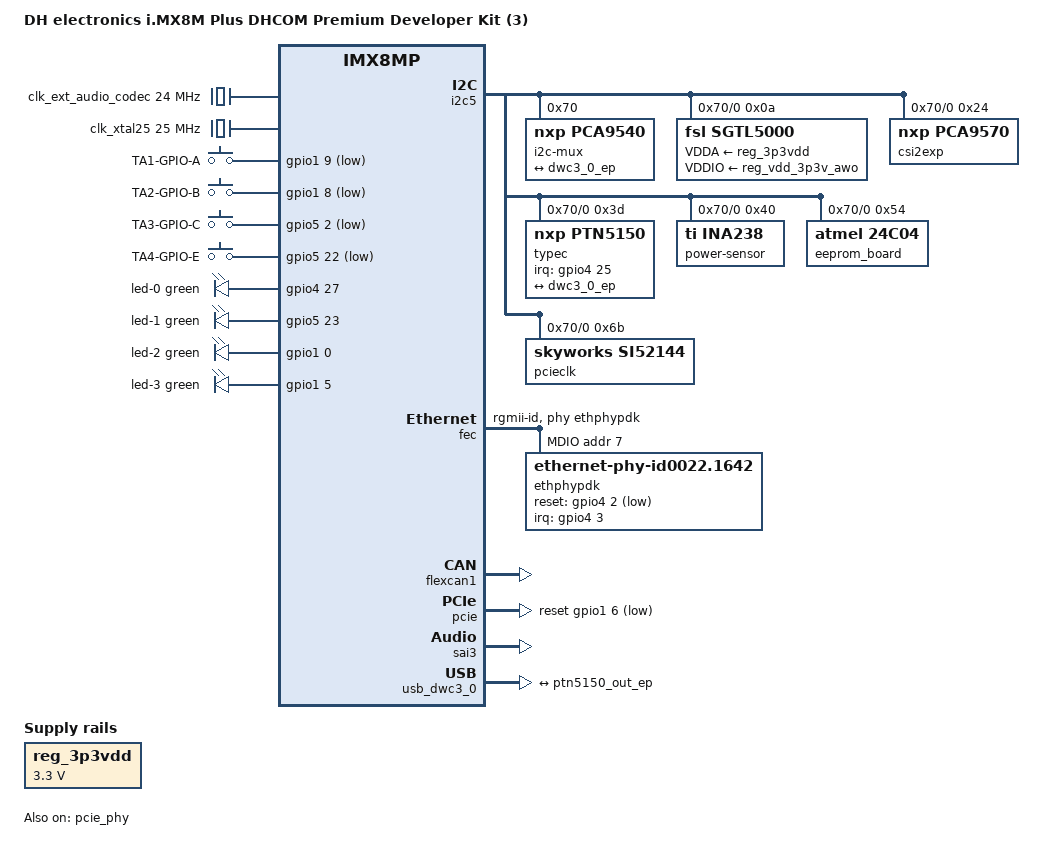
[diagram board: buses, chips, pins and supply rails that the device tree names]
// SPDX-License-Identifier: (GPL-2.0+ OR MIT)
/*
 * Copyright (C) 2023 Marek Vasut <marex@denx.de>
 *
 * DHCOM iMX8MP variant:
 * DHCM-iMX8ML8-C160-R409-F1638-SPI16-GE-CAN2-SD-RTC-WBTA-ADC-T-RGB-CSI2-HS-I-01D2
 * DHCOM PCB number: 660-100 or newer
 * PDK3 PCB number: 669-100 or newer
 */

/dts-v1/;

#include <dt-bindings/leds/common.h>
#include <dt-bindings/phy/phy-imx8-pcie.h>
#include "imx8mp-dhcom-som.dtsi"

/ {
	model = "DH electronics i.MX8M Plus DHCOM Premium Developer Kit (3)";
	compatible = "dh,imx8mp-dhcom-pdk3", "dh,imx8mp-dhcom-som",
		     "fsl,imx8mp";

	chosen {
		stdout-path = &uart1;
	};

	clk_ext_audio_codec: clock-codec {
		compatible = "fixed-clock";
		#clock-cells = <0>;
		clock-frequency = <24000000>;
	};

	clk_xtal25: clock-xtal25 {
		compatible = "fixed-clock";
		#clock-cells = <0>;
		clock-frequency = <25000000>;
	};

	gpio-keys {
		compatible = "gpio-keys";

		button-0 {
			gpios = <&gpio1 9 GPIO_ACTIVE_LOW>; /* GPIO A */
			label = "TA1-GPIO-A";
			linux,code = <KEY_A>;
			pinctrl-0 = <&pinctrl_dhcom_a>;
			pinctrl-names = "default";
			wakeup-source;
		};

		button-1 {
			gpios = <&gpio1 8 GPIO_ACTIVE_LOW>; /* GPIO B */
			label = "TA2-GPIO-B";
			linux,code = <KEY_B>;
			pinctrl-0 = <&pinctrl_dhcom_b>;
			pinctrl-names = "default";
			wakeup-source;
		};

		button-2 {
			gpios = <&gpio5 2 GPIO_ACTIVE_LOW>; /* GPIO C */
			label = "TA3-GPIO-C";
			linux,code = <KEY_C>;
			pinctrl-0 = <&pinctrl_dhcom_c>;
			pinctrl-names = "default";
			wakeup-source;
		};

		button-3 {
			gpios = <&gpio5 22 GPIO_ACTIVE_LOW>; /* GPIO E */
			label = "TA4-GPIO-E";
			linux,code = <KEY_E>;
			pinctrl-0 = <&pinctrl_dhcom_e>;
			pinctrl-names = "default";
			wakeup-source;
		};
	};

	led {
		compatible = "gpio-leds";

		led-0 {
			color = <LED_COLOR_ID_GREEN>;
			default-state = "off";
			function = LED_FUNCTION_INDICATOR;
			function-enumerator = <0>;
			gpios = <&gpio4 27 GPIO_ACTIVE_HIGH>; /* GPIO D */
			pinctrl-0 = <&pinctrl_dhcom_d>;
			pinctrl-names = "default";
		};

		led-1 {
			color = <LED_COLOR_ID_GREEN>;
			default-state = "off";
			function = LED_FUNCTION_INDICATOR;
			function-enumerator = <1>;
			gpios = <&gpio5 23 GPIO_ACTIVE_HIGH>; /* GPIO F */
			pinctrl-0 = <&pinctrl_dhcom_f>;
			pinctrl-names = "default";
		};

		led-2 {
			color = <LED_COLOR_ID_GREEN>;
			default-state = "off";
			function = LED_FUNCTION_INDICATOR;
			function-enumerator = <2>;
			gpios = <&gpio1 0 GPIO_ACTIVE_HIGH>; /* GPIO G */
			pinctrl-0 = <&pinctrl_dhcom_g>;
			pinctrl-names = "default";
		};

		led-3 {
			color = <LED_COLOR_ID_GREEN>;
			default-state = "off";
			function = LED_FUNCTION_INDICATOR;
			function-enumerator = <3>;
			gpios = <&gpio1 5 GPIO_ACTIVE_HIGH>; /* GPIO I */
			pinctrl-0 = <&pinctrl_dhcom_i>;
			pinctrl-names = "default";
		};
	};

	reg_3p3vdd: regulator-3p3vdd {	/* 3.3VDD */
		compatible = "regulator-fixed";
		regulator-always-on;
		regulator-min-microvolt = <3300000>;
		regulator-max-microvolt = <3300000>;
		regulator-name = "3P3VDD";
	};

	sound {
		compatible = "simple-audio-card";
		simple-audio-card,name = "SGTL5000-Card";
		simple-audio-card,format = "i2s";
		simple-audio-card,bitclock-master = <&codec_dai>;
		simple-audio-card,frame-master = <&codec_dai>;
		simple-audio-card,widgets = "Headphone", "Headphone Jack";
		simple-audio-card,routing = "Headphone Jack", "HP_OUT";

		cpu_dai: simple-audio-card,cpu {
			sound-dai = <&sai3>;
		};

		codec_dai: simple-audio-card,codec {
			sound-dai = <&sgtl5000>;
		};
	};
};

&i2c5 {
	i2c-mux@70 {
		compatible = "nxp,pca9540";
		reg = <0x70>;
		#address-cells = <1>;
		#size-cells = <0>;

		i2cmuxed0: i2c@0 {
			#address-cells = <1>;
			#size-cells = <0>;
			reg = <0>;

			sgtl5000: codec@a {
				compatible = "fsl,sgtl5000";
				reg = <0x0a>;
				#sound-dai-cells = <0>;
				clocks = <&clk_ext_audio_codec>;
				VDDA-supply = <&reg_3p3vdd>;
				VDDIO-supply = <&reg_vdd_3p3v_awo>;
			};

			csi2exp: gpio@24 {
				compatible = "nxp,pca9570";
				reg = <0x24>;
				gpio-controller;
				#gpio-cells = <2>;
				gpio-line-names =
					"CSI2_#RESET", "CSI2_#PWDN",
					"CSI_#PWDN", "CSI_#RESET";
			};

			typec@3d {
				compatible = "nxp,ptn5150";
				reg = <0x3d>;
				interrupt-parent = <&gpio4>;
				interrupts = <25 IRQ_TYPE_EDGE_FALLING>;
				pinctrl-names = "default";
				pinctrl-0 = <&pinctrl_ptn5150>;

				port {

					ptn5150_out_ep: endpoint {
						remote-endpoint = <&dwc3_0_ep>;
					};
				};
			};

			power-sensor@40 {
				compatible = "ti,ina238";
				reg = <0x40>;
				shunt-resistor = <20000>;	/* 0.02 R */
				ti,shunt-gain = <1>;	/* Drop cca. 40mV */
			};

			eeprom_board: eeprom@54 {
				compatible = "atmel,24c04";
				pagesize = <16>;
				reg = <0x54>;
			};

			pcieclk: clock@6b {
				compatible = "skyworks,si52144";
				reg = <0x6b>;
				clocks = <&clk_xtal25>;
				#clock-cells = <1>;
			};
		};

		i2cmuxed1: i2c@1 {	/* HDMI DDC I2C */
			#address-cells = <1>;
			#size-cells = <0>;
			reg = <1>;
		};
	};
};

&fec {	/* Second ethernet */
	pinctrl-0 = <&pinctrl_fec_rgmii>;
	phy-handle = <&ethphypdk>;
	phy-mode = "rgmii-id";

	mdio {
		ethphypdk: ethernet-phy@7 { /* Micrel KSZ9131RNXI */
			compatible = "ethernet-phy-id0022.1642",
				     "ethernet-phy-ieee802.3-c22";
			interrupt-parent = <&gpio4>;
			interrupts = <3 IRQ_TYPE_LEVEL_LOW>;
			pinctrl-0 = <&pinctrl_ethphy1>;
			pinctrl-names = "default";
			reg = <7>;
			reset-assert-us = <1000>;
			/* RESET_N signal rise time ~100ms */
			reset-deassert-us = <120000>;
			reset-gpios = <&gpio4 2 GPIO_ACTIVE_LOW>;
		};
	};
};

&flexcan1 {
	status = "okay";
};

&pcie_phy {
	clocks = <&pcieclk 1>;
	clock-names = "ref";
	fsl,refclk-pad-mode = <IMX8_PCIE_REFCLK_PAD_INPUT>;
	status = "okay";
};

&pcie {
	fsl,max-link-speed = <3>;
	reset-gpio = <&gpio1 6 GPIO_ACTIVE_LOW>;
	status = "okay";
};

&sai3 {
	pinctrl-names = "default";
	pinctrl-0 = <&pinctrl_sai3>;
	assigned-clocks = <&clk IMX8MP_CLK_SAI3>;
	assigned-clock-parents = <&clk IMX8MP_AUDIO_PLL1_OUT>;
	assigned-clock-rates = <12288000>;
	fsl,sai-mclk-direction-output;
	status = "okay";
};

&usb_dwc3_0 {
	usb-role-switch;

	port {
		dwc3_0_ep: endpoint {
			remote-endpoint = <&ptn5150_out_ep>;
		};
	};
};

&usb3_1 {
	fsl,disable-port-power-control;
	fsl,permanently-attached;
};

&usb_dwc3_1 {
	/* This port has USB5734 Hub connected to it, PWR/OC pins are unused */
	/delete-property/ pinctrl-names;
	/delete-property/ pinctrl-0;
};

&iomuxc {
	/*
	 * GPIO_A,B,C,E are connected to buttons.
	 * GPIO_D,F,G,I are connected to LEDs.
	 * GPIO_H is connected to USB Hub RESET_N.
	 * GPIO_M is connected to CLKOUT2.
	 */
	pinctrl-0 = <&pinctrl_hog_base
		     &pinctrl_dhcom_h &pinctrl_dhcom_j &pinctrl_dhcom_k
		     &pinctrl_dhcom_l
		     &pinctrl_dhcom_int>;

	pinctrl_ptn5150: ptn5150grp {
		fsl,pins = <
			MX8MP_IOMUXC_SAI2_TXC__GPIO4_IO25		0x40000000
		>;
	};
};
